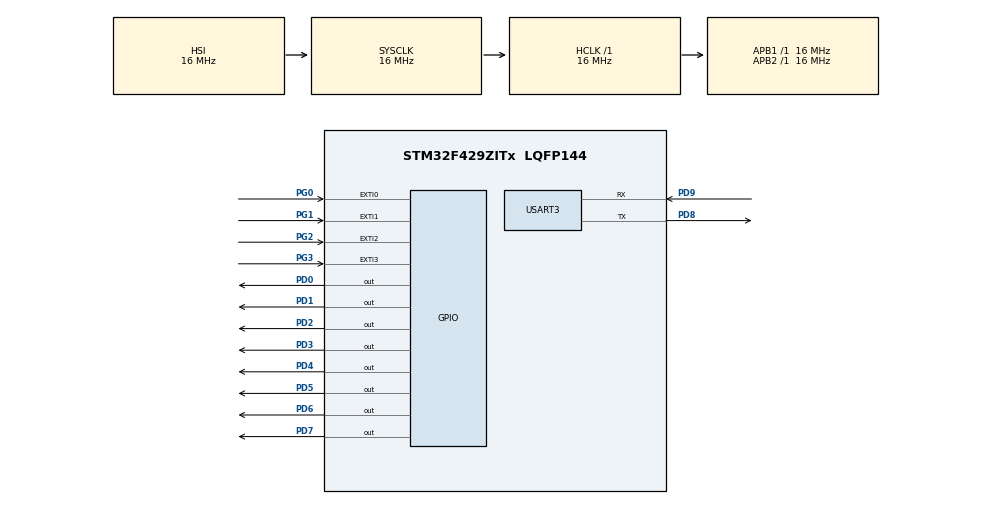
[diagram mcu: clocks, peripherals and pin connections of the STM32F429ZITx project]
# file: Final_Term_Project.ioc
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Mcu.Family=STM32F4
Mcu.Name=STM32F429ZITx
Mcu.Package=LQFP144
NVIC.EXTI0_IRQn=true\:0\:0\:false\:false\:true\:true\:true\:true
NVIC.EXTI1_IRQn=true\:0\:0\:false\:false\:true\:true\:true\:true
NVIC.EXTI2_IRQn=true\:0\:0\:false\:false\:true\:true\:true\:true
NVIC.EXTI3_IRQn=true\:0\:0\:false\:false\:true\:true\:true\:true
NVIC.PriorityGroup=NVIC_PRIORITYGROUP_4
NVIC.USART3_IRQn=true\:0\:0\:false\:false\:true\:true\:true\:true
PA13.Mode=Serial_Wire
PA13.Signal=SYS_JTMS-SWDIO
PA14.Mode=Serial_Wire
PA14.Signal=SYS_JTCK-SWCLK
PD0.GPIO_ModeDefaultOutputPP=GPIO_MODE_OUTPUT_PP
PD0.GPIO_PuPd=GPIO_PULLUP
PD0.GPIO_Speed=GPIO_SPEED_FREQ_HIGH
PD0.PinState=GPIO_PIN_RESET
PD0.Signal=GPIO_Output
PD1.GPIO_ModeDefaultOutputPP=GPIO_MODE_OUTPUT_PP
PD1.GPIO_PuPd=GPIO_PULLUP
PD1.GPIO_Speed=GPIO_SPEED_FREQ_HIGH
PD1.PinState=GPIO_PIN_RESET
PD1.Signal=GPIO_Output
PD2.GPIO_ModeDefaultOutputPP=GPIO_MODE_OUTPUT_PP
PD2.GPIO_PuPd=GPIO_PULLUP
PD2.GPIO_Speed=GPIO_SPEED_FREQ_HIGH
PD2.PinState=GPIO_PIN_RESET
PD2.Signal=GPIO_Output
PD3.GPIO_ModeDefaultOutputPP=GPIO_MODE_OUTPUT_PP
PD3.GPIO_PuPd=GPIO_PULLUP
PD3.GPIO_Speed=GPIO_SPEED_FREQ_HIGH
PD3.PinState=GPIO_PIN_RESET
PD3.Signal=GPIO_Output
PD4.GPIO_ModeDefaultOutputPP=GPIO_MODE_OUTPUT_PP
PD4.GPIO_PuPd=GPIO_PULLUP
PD4.GPIO_Speed=GPIO_SPEED_FREQ_HIGH
PD4.PinState=GPIO_PIN_RESET
PD4.Signal=GPIO_Output
PD5.GPIO_ModeDefaultOutputPP=GPIO_MODE_OUTPUT_PP
PD5.GPIO_PuPd=GPIO_PULLUP
PD5.GPIO_Speed=GPIO_SPEED_FREQ_HIGH
PD5.PinState=GPIO_PIN_RESET
PD5.Signal=GPIO_Output
PD6.GPIO_ModeDefaultOutputPP=GPIO_MODE_OUTPUT_PP
PD6.GPIO_PuPd=GPIO_PULLUP
PD6.GPIO_Speed=GPIO_SPEED_FREQ_HIGH
PD6.PinState=GPIO_PIN_RESET
PD6.Signal=GPIO_Output
PD7.GPIO_ModeDefaultOutputPP=GPIO_MODE_OUTPUT_PP
PD7.GPIO_PuPd=GPIO_PULLUP
PD7.GPIO_Speed=GPIO_SPEED_FREQ_HIGH
PD7.PinState=GPIO_PIN_RESET
PD7.Signal=GPIO_Output
PD8.Mode=Asynchronous
PD8.Signal=USART3_TX
PD9.Mode=Asynchronous
PD9.Signal=USART3_RX
PG0.GPIO_ModeDefaultEXTI=GPIO_MODE_IT_FALLING
PG0.GPIO_PuPd=GPIO_NOPULL
PG0.Signal=GPXTI0
PG1.GPIO_ModeDefaultEXTI=GPIO_MODE_IT_FALLING
PG1.GPIO_PuPd=GPIO_NOPULL
PG1.Signal=GPXTI1
PG2.GPIO_ModeDefaultEXTI=GPIO_MODE_IT_FALLING
PG2.GPIO_PuPd=GPIO_NOPULL
PG2.Signal=GPXTI2
PG3.GPIO_ModeDefaultEXTI=GPIO_MODE_IT_FALLING
PG3.GPIO_PuPd=GPIO_NOPULL
PG3.Signal=GPXTI3
ProjectManager.HeapSize=0x200
ProjectManager.StackSize=0x400
ProjectManager.TargetToolchain=STM32CubeIDE
RCC.AHBFreq_Value=16000000
RCC.APB1Freq_Value=16000000
RCC.APB2Freq_Value=16000000
RCC.CortexFreq_Value=16000000
RCC.HSE_VALUE=25000000
RCC.HSI_VALUE=16000000
RCC.LSE_VALUE=32768
RCC.SYSCLKFreq_VALUE=16000000
RCC.VCOOutputFreq_Value=192000000
USART3.VirtualMode=VM_ASYNC
board=custom

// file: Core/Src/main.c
/* USER CODE BEGIN Header */
/**
  ******************************************************************************
  * @file           : main.c
  * @brief          : Main program body
  ******************************************************************************
  * @attention
  *
  * Copyright (c) 2025 STMicroelectronics.
  * All rights reserved.
  *
  * This software is licensed under terms that can be found in the LICENSE file
  * in the root directory of this software component.
  * If no LICENSE file comes with this software, it is provided AS-IS.
  *
  ******************************************************************************
  */
/* USER CODE END Header */
#include "main.h"
#include <string.h>

/* USER CODE BEGIN PD */
 #define TxBufferSize (countof(TxBuffer) - 1)
 #define TxBufferSize_2 (countof(TxBuffer_2) - 1)
 #define TxBufferSize_3 (countof(TxBuffer_3) - 1)
 #define TxBufferSize_4 (countof(TxBuffer_4) - 1)
 #define TxBufferSize_5 (countof(TxBuffer_5) - 1)
 #define RxBufferSize 0xFF
 #define countof(a)  (sizeof(a) / sizeof(*(a)))
/* USER CODE END PD */

UART_HandleTypeDef huart3;

/* USER CODE BEGIN PV */
uint8_t TxBuffer[] = "\n\rUART Example 2 (Transmission  Success !!)\n\r\n\r";
uint8_t TxBuffer_2[] = "\n\r Button1 is pressed !! \n\r";
uint8_t TxBuffer_3[] = "\n\r Button2 is pressed !! \n\r";
uint8_t TxBuffer_4[] = "\n\r Button3 is pressed !! \n\r";
uint8_t TxBuffer_5[] = "\n\r Button4 is pressed !! \n\r";
uint8_t RxBuffer[RxBufferSize];
/* USER CODE END PV */

void SystemClock_Config(void);
static void MX_GPIO_Init(void);
static void MX_USART3_UART_Init(void);
/* USER CODE BEGIN PFP */
void LED_OnOff(int, int);
/* USER CODE END PFP */

int main(void)
{

  /* MCU Configuration--------------------------------------------------------*/

  /* Reset of all peripherals, Initializes the Flash interface and the Systick. */
  HAL_Init();

  /* Configure the system clock */
  SystemClock_Config();

  /* Initialize all configured peripherals */
  MX_GPIO_Init();
  MX_USART3_UART_Init();
  /* USER CODE BEGIN 2 */
  LED_OnOff(LED_ALL, 500);
  HAL_UART_Transmit(&huart3, (uint8_t*)TxBuffer, TxBufferSize, 0xFFFF);
  /* USER CODE END 2 */

  /* Infinite loop */
  while (1)
  {

  }
}

void SystemClock_Config(void)
{
  RCC_OscInitTypeDef RCC_OscInitStruct = {0};
  RCC_ClkInitTypeDef RCC_ClkInitStruct = {0};

  /** Configure the main internal regulator output voltage
  */
  __HAL_RCC_PWR_CLK_ENABLE();
  __HAL_PWR_VOLTAGESCALING_CONFIG(PWR_REGULATOR_VOLTAGE_SCALE3);

  /** Initializes the RCC Oscillators according to the specified parameters
  * in the RCC_OscInitTypeDef structure.
  */
  RCC_OscInitStruct.OscillatorType = RCC_OSCILLATORTYPE_HSI;
  RCC_OscInitStruct.HSIState = RCC_HSI_ON;
  RCC_OscInitStruct.HSICalibrationValue = RCC_HSICALIBRATION_DEFAULT;
  RCC_OscInitStruct.PLL.PLLState = RCC_PLL_NONE;
  if (HAL_RCC_OscConfig(&RCC_OscInitStruct) != HAL_OK)
  {
    Error_Handler();
  }

  /** Initializes the CPU, AHB and APB buses clocks
  */
  RCC_ClkInitStruct.ClockType = RCC_CLOCKTYPE_HCLK|RCC_CLOCKTYPE_SYSCLK
                              |RCC_CLOCKTYPE_PCLK1|RCC_CLOCKTYPE_PCLK2;
  RCC_ClkInitStruct.SYSCLKSource = RCC_SYSCLKSOURCE_HSI;
  RCC_ClkInitStruct.AHBCLKDivider = RCC_SYSCLK_DIV1;
  RCC_ClkInitStruct.APB1CLKDivider = RCC_HCLK_DIV1;
  RCC_ClkInitStruct.APB2CLKDivider = RCC_HCLK_DIV1;

  if (HAL_RCC_ClockConfig(&RCC_ClkInitStruct, FLASH_LATENCY_0) != HAL_OK)
  {
    Error_Handler();
  }
}

static void MX_USART3_UART_Init(void)
{

  huart3.Instance = USART3;
  huart3.Init.BaudRate = 115200;
  huart3.Init.WordLength = UART_WORDLENGTH_8B;
  huart3.Init.StopBits = UART_STOPBITS_1;
  huart3.Init.Parity = UART_PARITY_NONE;
  huart3.Init.Mode = UART_MODE_TX_RX;
  huart3.Init.HwFlowCtl = UART_HWCONTROL_NONE;
  huart3.Init.OverSampling = UART_OVERSAMPLING_16;
  if (HAL_UART_Init(&huart3) != HAL_OK)
  {
    Error_Handler();
  }

}

static void MX_GPIO_Init(void)
{
  GPIO_InitTypeDef GPIO_InitStruct = {0};

  /* GPIO Ports Clock Enable */
  __HAL_RCC_GPIOG_CLK_ENABLE();
  __HAL_RCC_GPIOD_CLK_ENABLE();
  __HAL_RCC_GPIOA_CLK_ENABLE();

  /*Configure GPIO pin Output Level */
  HAL_GPIO_WritePin(GPIOD, GPIO_PIN_0|GPIO_PIN_1|GPIO_PIN_2|GPIO_PIN_3
                          |GPIO_PIN_4|GPIO_PIN_5|GPIO_PIN_6|GPIO_PIN_7, GPIO_PIN_RESET);

  /*Configure GPIO pins : PG0 PG1 PG2 PG3 */
  GPIO_InitStruct.Pin = GPIO_PIN_0|GPIO_PIN_1|GPIO_PIN_2|GPIO_PIN_3;
  GPIO_InitStruct.Mode = GPIO_MODE_IT_FALLING;
  GPIO_InitStruct.Pull = GPIO_NOPULL;
  HAL_GPIO_Init(GPIOG, &GPIO_InitStruct);

  /*Configure GPIO pins : PD0 PD1 PD2 PD3
                           PD4 PD5 PD6 PD7 */
  GPIO_InitStruct.Pin = GPIO_PIN_0|GPIO_PIN_1|GPIO_PIN_2|GPIO_PIN_3
                          |GPIO_PIN_4|GPIO_PIN_5|GPIO_PIN_6|GPIO_PIN_7;
  GPIO_InitStruct.Mode = GPIO_MODE_OUTPUT_PP;
  GPIO_InitStruct.Pull = GPIO_PULLUP;
  GPIO_InitStruct.Speed = GPIO_SPEED_FREQ_HIGH;
  HAL_GPIO_Init(GPIOD, &GPIO_InitStruct);

  /* EXTI interrupt init*/
  HAL_NVIC_SetPriority(EXTI0_IRQn, 0, 0);
  HAL_NVIC_EnableIRQ(EXTI0_IRQn);

  HAL_NVIC_SetPriority(EXTI1_IRQn, 0, 0);
  HAL_NVIC_EnableIRQ(EXTI1_IRQn);

  HAL_NVIC_SetPriority(EXTI2_IRQn, 0, 0);
  HAL_NVIC_EnableIRQ(EXTI2_IRQn);

  HAL_NVIC_SetPriority(EXTI3_IRQn, 0, 0);
  HAL_NVIC_EnableIRQ(EXTI3_IRQn);

}

/* USER CODE BEGIN 4 */
void LED_OnOff(int led, int interval)
{
 HAL_GPIO_WritePin(GPIO_LED, led, GPIO_PIN_SET );
 HAL_GPIO_WritePin(GPIO_LED_Nucleo, led, GPIO_PIN_SET );

 HAL_Delay(interval);
 HAL_GPIO_WritePin(GPIO_LED, led, GPIO_PIN_RESET );
 HAL_GPIO_WritePin(GPIO_LED_Nucleo, led, GPIO_PIN_RESET );
}

void HAL_GPIO_EXTI_Callback(uint16_t GPIO_Pin)
{
    const char* cmd = "";

    switch(GPIO_Pin)
    {
        case GPIO_PIN_0: cmd = "go\n"; break;
        case GPIO_PIN_1: cmd = "back\n";  break;
        case GPIO_PIN_2: cmd = "left\n"; break;
        case GPIO_PIN_3: cmd = "right\n";  break;
    }

    HAL_UART_Transmit(&huart3, (uint8_t*)cmd, strlen(cmd), HAL_MAX_DELAY);
}

/* USER CODE END 4 */

void Error_Handler(void)
{
  __disable_irq();
  while (1)
  {
  }
}
